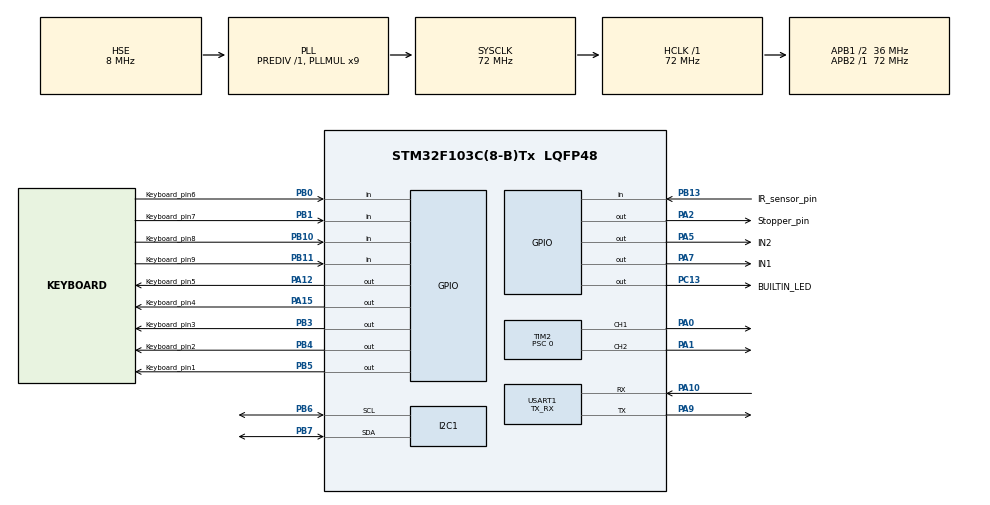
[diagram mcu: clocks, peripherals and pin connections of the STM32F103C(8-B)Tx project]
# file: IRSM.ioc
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Mcu.Family=STM32F1
Mcu.Name=STM32F103C(8-B)Tx
Mcu.Package=LQFP48
NVIC.I2C1_EV_IRQn=true\:0\:0\:false\:false\:true\:true\:true\:true
NVIC.PriorityGroup=NVIC_PRIORITYGROUP_4
NVIC.USART1_IRQn=true\:0\:0\:false\:false\:true\:true\:true\:true
PA0-WKUP.Signal=S_TIM2_CH1_ETR
PA1.Signal=S_TIM2_CH2
PA10.Mode=Asynchronous
PA10.Signal=USART1_RX
PA12.GPIO_Label=Keyboard_pin5
PA12.Signal=GPIO_Output
PA13.Mode=Serial_Wire
PA13.Signal=SYS_JTMS-SWDIO
PA14.Mode=Serial_Wire
PA14.Signal=SYS_JTCK-SWCLK
PA15.GPIO_Label=Keyboard_pin4
PA15.Signal=GPIO_Output
PA2.GPIO_Label=Stopper_pin
PA2.PinState=GPIO_PIN_SET
PA2.Signal=GPIO_Output
PA5.GPIO_Label=IN2
PA5.PinState=GPIO_PIN_SET
PA5.Signal=GPIO_Output
PA7.GPIO_Label=IN1
PA7.PinState=GPIO_PIN_SET
PA7.Signal=GPIO_Output
PA9.Mode=Asynchronous
PA9.Signal=USART1_TX
PB0.GPIO_Label=Keyboard_pin6
PB0.GPIO_PuPd=GPIO_PULLDOWN
PB0.Signal=GPIO_Input
PB1.GPIO_Label=Keyboard_pin7
PB1.GPIO_PuPd=GPIO_PULLDOWN
PB1.Signal=GPIO_Input
PB10.GPIO_Label=Keyboard_pin8
PB10.GPIO_PuPd=GPIO_PULLDOWN
PB10.Signal=GPIO_Input
PB11.GPIO_Label=Keyboard_pin9
PB11.GPIO_PuPd=GPIO_PULLDOWN
PB11.Signal=GPIO_Input
PB13.GPIO_Label=IR_sensor_pin
PB13.GPIO_PuPd=GPIO_PULLDOWN
PB13.Signal=GPIO_Input
PB3.GPIO_Label=Keyboard_pin3
PB3.Signal=GPIO_Output
PB4.GPIO_Label=Keyboard_pin2
PB4.Signal=GPIO_Output
PB5.GPIO_Label=Keyboard_pin1
PB5.GPIO_ModeDefaultOutputPP=GPIO_MODE_OUTPUT_PP
PB5.GPIO_PuPd=GPIO_NOPULL
PB5.Signal=GPIO_Output
PB6.Mode=I2C
PB6.Signal=I2C1_SCL
PB7.Mode=I2C
PB7.Signal=I2C1_SDA
PC13-TAMPER-RTC.GPIO_Label=BUILTIN_LED
PC13-TAMPER-RTC.PinState=GPIO_PIN_SET
PC13-TAMPER-RTC.Signal=GPIO_Output
PD0-OSC_IN.Mode=HSE-External-Oscillator
PD0-OSC_IN.Signal=RCC_OSC_IN
PD1-OSC_OUT.Mode=HSE-External-Oscillator
PD1-OSC_OUT.Signal=RCC_OSC_OUT
ProjectManager.HeapSize=0x200
ProjectManager.StackSize=0x400
ProjectManager.TargetToolchain=STM32CubeIDE
RCC.ADCPresc=RCC_ADCPCLK2_DIV6
RCC.AHBFreq_Value=72000000
RCC.APB1CLKDivider=RCC_HCLK_DIV2
RCC.APB1Freq_Value=36000000
RCC.APB1TimFreq_Value=72000000
RCC.APB2Freq_Value=72000000
RCC.APB2TimFreq_Value=72000000
RCC.HCLKFreq_Value=72000000
RCC.PLLMUL=RCC_PLL_MUL9
RCC.PLLSourceVirtual=RCC_PLLSOURCE_HSE
RCC.SYSCLKFreq_VALUE=72000000
RCC.SYSCLKSource=RCC_SYSCLKSOURCE_PLLCLK
RCC.USBFreq_Value=72000000
SH.S_TIM2_CH1_ETR.0=TIM2_CH1,PWM Generation1 CH1
SH.S_TIM2_CH2.0=TIM2_CH2,PWM Generation2 CH2
TIM2.AutoReloadPreload=TIM_AUTORELOAD_PRELOAD_ENABLE
TIM2.Channel-PWM\ Generation1\ CH1=TIM_CHANNEL_1
TIM2.Channel-PWM\ Generation2\ CH2=TIM_CHANNEL_2
TIM2.Period=65535
TIM2.Prescaler=0
USART1.Mode=MODE_TX_RX
USART1.VirtualMode=VM_ASYNC
VP_TIM2_VS_ClockSourceINT.Mode=Internal
board=custom

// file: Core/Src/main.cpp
/* USER CODE BEGIN Header */
/**
  ******************************************************************************
  * @file           : main.cpp
  * @brief          : Main program body
  ******************************************************************************
  * @attention
  *
  * Copyright (c) 2026 STMicroelectronics.
  * All rights reserved.
  *
  * This software is licensed under terms that can be found in the LICENSE file
  * in the root directory of this software component.
  * If no LICENSE file comes with this software, it is provided AS-IS.
  *
  ******************************************************************************
  */
/* USER CODE END Header */
#include "main.h"
#include "i2c.h"
#include "tim.h"
#include "usart.h"
#include "gpio.h"

/* USER CODE BEGIN Includes */
#include "stdio.h"

#include "IRSM.cpp"
#include <cstring>
#include "LCDDevice.h"
#include "KeypadDevice.h"
#include "Menu.cpp"
#include <sys/_stdint.h>
#include <inttypes.h>

#define LOGUART

/* USER CODE END Includes */

void SystemClock_Config(void);

/* USER CODE BEGIN 0 */
// Custom function to handle logging data in order to give more info about machine's state to user
void Log(uint8_t type, std::string text){
#ifdef LOGUART
	std::string prefix = "";
	if (type == 1){
		prefix = "[INFO]: ";
	} else if (type == 2){
		prefix = "[WARN]: ";
	} else if (type == 3){
		prefix = "[ERR]: ";
	} else if (type == 4){
		prefix = "[CRIT]: ";
	}
	text = prefix + text + (type==5 ? "" : "\r\n"); //type 5 is used for special codes
	HAL_UART_Transmit(&huart1, reinterpret_cast<uint8_t*>(&text[0]), text.length(), 10);
#endif
}

/*class State1 : public State {
public:
	using State::State;
	int counter{ 0 };
	void OnEnter() override {
		(*ParentStateMachine).Log(0, "Entered State1");
	}
	void Tick() override {
		(*ParentStateMachine).Log(0, "TICK1");
		if (counter == 3) {
			(*ParentStateMachine).Log(0, "BEEP");
			(*ParentStateMachine).Emit("STATE2");
		}
		else {
			counter++;
		}
	}
	void OnExit() override {
		(*ParentStateMachine).Log(0, "Exited State1");
	}
};
bool Work{ true };
class State2 : public State {
public:
	using State::State;
	int counter{ 0 };
	void OnEnter() {
		(*ParentStateMachine).Log(0, "Entered State2");
	}
	void Tick() override {
		(*ParentStateMachine).Log(0, "TICK2");
		if (counter == 6) {
			(*ParentStateMachine).Log(0, "BOOP");
			Work = false;
			(*ParentStateMachine).Emit("STATE3");
		}
		else {
			counter++;
		}
	}
	void OnExit() override {
		(*ParentStateMachine).Log(0, "Exited State2");
	}
};*/
/* USER CODE END 0 */

int main(void)
{

  /* MCU Configuration--------------------------------------------------------*/

  /* Reset of all peripherals, Initializes the Flash interface and the Systick. */
  HAL_Init();

  /* USER CODE BEGIN Init */
  HAL_Delay(1000);
  Log(1, "BOOT UP SEQUENCE INITIATED");
  /* USER CODE END Init */

  /* Configure the system clock */
  SystemClock_Config();

  /* Initialize all configured peripherals */
  MX_GPIO_Init();
  Log(1, "FINISHED: GPIO [1/4]");

  MX_USART1_UART_Init();
  Log(1, "FINISHED: UART [2/4]");

  MX_I2C1_Init();
  Log(1, "FINISHED: I2C [3/4]");

  MX_TIM2_Init();
  Log(1, "FINISHED: TIM(PWM) [4/4]");

  /* USER CODE BEGIN 2 */

  Log(1, "PHASE 1/4 FINISHED");

  LCDDevice LCD {hi2c1, 0x27, Log};
  LCD.init();
  Log(1, "FINISHED: LCD [1/3]");

  /*
   * std::list<GPIO_TypeDef*> cols_GPIO, std::list<uint16_t> columns_GPIO_pins,
			std::list<GPIO_TypeDef*> rows_GPIO, std::list<uint16_t> rows_GPIO_pins,
			std::list<std::list<char>> symbols,
			uint16_t hold_delay
   */
  std::list<GPIO_TypeDef*> cols_GPIO_list {GPIOB, GPIOB, GPIOB, GPIOB};
  std::list<uint16_t> columns_GPIO_pins_list {Keyboard_pin6_Pin, Keyboard_pin7_Pin, Keyboard_pin8_Pin, Keyboard_pin9_Pin};
  std::list<GPIO_TypeDef*> rows_GPIO_list {GPIOB, GPIOB, GPIOA, GPIOA};
  std::list<uint16_t> rows_GPIO_pins_list {Keyboard_pin2_Pin, Keyboard_pin3_Pin, Keyboard_pin4_Pin, Keyboard_pin5_Pin};
  std::list<std::list<char>> symbols_list {
	  {'1', '2', '3', 'A'},
	  {'4', '5', '6', 'B'},
	  {'7', '8', '9', 'C'},
	  {'*', '0', '#', 'D'}
  };

  KeypadDevice Keypad(cols_GPIO_list, columns_GPIO_pins_list, rows_GPIO_list, rows_GPIO_pins_list, symbols_list, 500);
  Log(1, "FINISHED: KEYPAD [2/3]");

  HAL_TIM_PWM_Stop(&htim2, TIM_CHANNEL_1);
  HAL_TIM_PWM_Stop(&htim2, TIM_CHANNEL_2);
  HAL_GPIO_WritePin(GPIOA, IN1_Pin, GPIO_PIN_RESET);
  HAL_GPIO_WritePin(GPIOA, IN2_Pin, GPIO_PIN_SET);
  int32_t CH1_DC = 0;
  Log(1, "FINISHED: L298N [3/3]");

  Log(1, "PHASE 2/4 FINISHED");

  //I am stoooopid
  Log(1, "AWAITING KEYPAD INPUT");
  LCD.clear();
  LCD.setCursor(0,0);
  LCD.write("PRESS \"*\" TO BOOT");
  HAL_GPIO_WritePin(GPIOA, Keyboard_pin5_Pin, GPIO_PIN_SET);
  HAL_Delay(50);
  while(HAL_GPIO_ReadPin(GPIOB, Keyboard_pin6_Pin)==GPIO_PIN_RESET);
  HAL_GPIO_WritePin(GPIOA, Keyboard_pin5_Pin, GPIO_PIN_RESET);
  HAL_Delay(50);
  Log(1, "KEYPAD INPUT SECCESSFUL");
  LCD.clear();
  //uint8_t rx_buff[1]={};

  /*StateMachine MainStateMachine{&Log};
  State1 state1{ MainStateMachine, "STATE1" };
  State2 state2{ MainStateMachine, "STATE2" };
  MainStateMachine.AddState(&state1);
  MainStateMachine.AddState(&state2);*/

  //HAL_TIM_PWM_Start(&htim2, TIM_CHANNEL_1);
  //HAL_TIM_PWM_Start(&htim2, TIM_CHANNEL_2);

  //HAL_GPIO_WritePin(GPIOA, IN1_Pin, GPIO_PIN_SET);
  //HAL_GPIO_WritePin(GPIOA, IN2_Pin, GPIO_PIN_RESET);
  //int32_t CH1_DC = 0;

  //Log(0, "Initialized L298N Driver");

  Log(1,"PHASE 3/4 FINISHED");
  /* USER CODE END 2 */

  /* Infinite loop */
  /* USER CODE BEGIN WHILE */

  //uint8_t cursorLine = 2;

  //Display welcome-screen
    Log(1, "DISPLAYING WELCOME-SCREEN");
    LCD.clear();
    LCD.setCursor(0,0);
    LCD.write("Industrial Rotory");
    LCD.setCursor(0,1);
    LCD.write("Slicer Machine by");
    LCD.setCursor(0,2);
    LCD.write("Shamrin-Tebenkov");
    LCD.setCursor(0,3);
    LCD.write("Production");
    HAL_Delay(1000);
    LCD.clear();

  Log(1, "PHASE 4/4 FINISHED");
  Log(1,"ENTERING MAIN LOOP");
  HAL_Delay(1000);
  Log(5, "\x1B[2J\x1B[H");
  Log(0, R"(    /\_/\           ___)");
  Log(0, R"(   = o_o =_______    \ \  )");
  Log(0, R"(    __^      __(  \.__) ))");
  Log(0, R"((@)<_____>__(_____)____/)");
  Log(0, "Hewwo! :3c");

  bool dir = false;
  while (1)
  {
	  Keypad.UpdateKeymap();
	  while (Keypad.BufferIsNotEmpty()){
		  char character;
		  bool hold;
		  std::tie(hold, character) = Keypad.GetChar();
		  if (character == 'A'){
			  Log(1, "PWM SET");
			  HAL_TIM_PWM_Start(&htim2, TIM_CHANNEL_1);
			  HAL_TIM_PWM_Start(&htim2, TIM_CHANNEL_2);

			  HAL_GPIO_WritePin(GPIOA, IN1_Pin, GPIO_PIN_SET);
			  HAL_GPIO_WritePin(GPIOA, IN2_Pin, GPIO_PIN_RESET);
		  } else if (character == 'B') {
			  Log(1, "PWM RESET");
			  HAL_TIM_PWM_Stop(&htim2, TIM_CHANNEL_1);
			  HAL_TIM_PWM_Stop(&htim2, TIM_CHANNEL_2);

			  HAL_GPIO_WritePin(GPIOA, IN1_Pin, GPIO_PIN_RESET);
			  HAL_GPIO_WritePin(GPIOA, IN2_Pin, GPIO_PIN_SET);
		  }
		  TIM2->CCR1 = CH1_DC;
		  TIM2->CCR2 = 65535 - CH1_DC;
		  CH1_DC += (dir ? 1 : -1);
		  if (CH1_DC==0 || CH1_DC==65535) dir^=true;
	  }
	  /*for (auto& i : Keypad.KeyMap){
		  std::string ret = "";
		  for (auto& j : i){
			  ret += std::to_string(j) + " ";
		  }
		  Log(0, ret);
	  }
	  Log(0,"@@@");
	  HAL_Delay(10);*/
	  /*for (int i=0;i<6;i++) {
		  LCD.clear();
		  LCD.setCursor(0,0);
		  cursorLine = 2;
		  for (std::string Item : TestMenu.getItems()) {
			  if (cursorLine==1) LCD.write("> ");
			  //else LCD.write("  ");
			  if (cursorLine>0) cursorLine--;
		  	  LCD.write(Item);
		  	  LCD.nextLine();
	  	  }
	  	  TestMenu.moveCursor(1);
	  	  HAL_Delay(1000);
	  }
	  for (int i=0;i<6;i++) {
		  LCD.clear();
		  LCD.setCursor(0,0);
		  cursorLine = 2;
		  for (std::string Item : TestMenu.getItems()) {
			  if (cursorLine==1) LCD.write("> ");
			  //else LCD.write("  ");
			  if (cursorLine>0) cursorLine--;
			  LCD.write(Item);
			  LCD.nextLine();
		  }

		  TestMenu.moveCursor(-1);
		  HAL_Delay(1000);
	  }*/
    /* USER CODE END WHILE */
	  /*
	HAL_UART_Receive_IT(&huart1, rx_buff, 1);
	if (rx_buff[0]!=0){
		rx_buff[0]=0;
	}
	while(CH1_DC < 65535)
	{
		TIM2->CCR1 = CH1_DC;
		TIM2->CCR2 = 65535 - CH1_DC;
		CH1_DC += 70;
		HAL_Delay(1);
	}
	CH1_DC=65535;
	while(CH1_DC > 0)
	{
		TIM2->CCR1 = CH1_DC;
		TIM2->CCR2 = 65535 - CH1_DC;
		CH1_DC -= 70;
		HAL_Delay(1);
	}
	CH1_DC=0;*/
  }
  /* USER CODE END 3 */
}

void SystemClock_Config(void)
{
  RCC_OscInitTypeDef RCC_OscInitStruct = {0};
  RCC_ClkInitTypeDef RCC_ClkInitStruct = {0};

  /** Initializes the RCC Oscillators according to the specified parameters
  * in the RCC_OscInitTypeDef structure.
  */
  RCC_OscInitStruct.OscillatorType = RCC_OSCILLATORTYPE_HSE;
  RCC_OscInitStruct.HSEState = RCC_HSE_ON;
  RCC_OscInitStruct.HSEPredivValue = RCC_HSE_PREDIV_DIV1;
  RCC_OscInitStruct.HSIState = RCC_HSI_ON;
  RCC_OscInitStruct.PLL.PLLState = RCC_PLL_ON;
  RCC_OscInitStruct.PLL.PLLSource = RCC_PLLSOURCE_HSE;
  RCC_OscInitStruct.PLL.PLLMUL = RCC_PLL_MUL9;
  if (HAL_RCC_OscConfig(&RCC_OscInitStruct) != HAL_OK)
  {
    Error_Handler();
  }

  /** Initializes the CPU, AHB and APB buses clocks
  */
  RCC_ClkInitStruct.ClockType = RCC_CLOCKTYPE_HCLK|RCC_CLOCKTYPE_SYSCLK
                              |RCC_CLOCKTYPE_PCLK1|RCC_CLOCKTYPE_PCLK2;
  RCC_ClkInitStruct.SYSCLKSource = RCC_SYSCLKSOURCE_PLLCLK;
  RCC_ClkInitStruct.AHBCLKDivider = RCC_SYSCLK_DIV1;
  RCC_ClkInitStruct.APB1CLKDivider = RCC_HCLK_DIV2;
  RCC_ClkInitStruct.APB2CLKDivider = RCC_HCLK_DIV1;

  if (HAL_RCC_ClockConfig(&RCC_ClkInitStruct, FLASH_LATENCY_2) != HAL_OK)
  {
    Error_Handler();
  }
}

void Error_Handler(void)
{
  __disable_irq();
  while (1)
  {
  }
}
